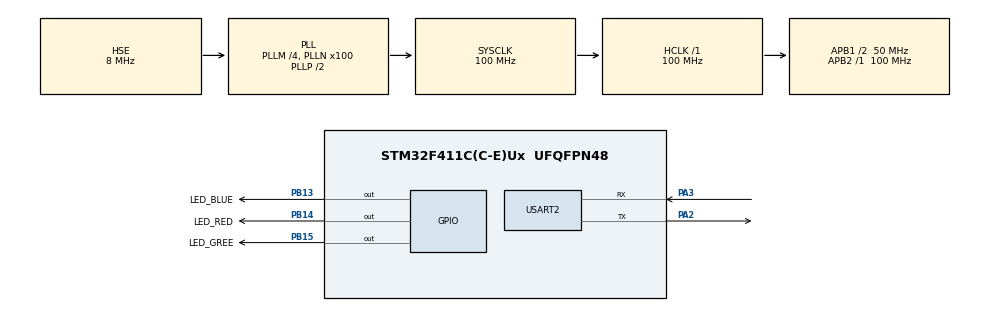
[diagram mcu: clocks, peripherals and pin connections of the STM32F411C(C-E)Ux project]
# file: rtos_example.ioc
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FREERTOS.Tasks01=defaultTask,0,128,StartDefaultTask,Default,NULL,Dynamic,NULL,NULL
FREERTOS.configUSE_NEWLIB_REENTRANT=1
Mcu.Family=STM32F4
Mcu.Name=STM32F411C(C-E)Ux
Mcu.Package=UFQFPN48
NVIC.PriorityGroup=NVIC_PRIORITYGROUP_4
PA2.Mode=Asynchronous
PA2.Signal=USART2_TX
PA3.Mode=Asynchronous
PA3.Signal=USART2_RX
PB13.GPIO_Label=LED_BLUE
PB13.Signal=GPIO_Output
PB14.GPIO_Label=LED_RED
PB14.Signal=GPIO_Output
PB15.GPIO_Label=LED_GREE
PB15.Signal=GPIO_Output
PC14-OSC32_IN.Mode=LSE-External-Oscillator
PC14-OSC32_IN.Signal=RCC_OSC32_IN
PC15-OSC32_OUT.Mode=LSE-External-Oscillator
PC15-OSC32_OUT.Signal=RCC_OSC32_OUT
PH0\ -\ OSC_IN.Mode=HSE-External-Oscillator
PH0\ -\ OSC_IN.Signal=RCC_OSC_IN
PH1\ -\ OSC_OUT.Mode=HSE-External-Oscillator
PH1\ -\ OSC_OUT.Signal=RCC_OSC_OUT
ProjectManager.HeapSize=0x200
ProjectManager.StackSize=0x400
ProjectManager.TargetToolchain=STM32CubeIDE
RCC.48MHZClocksFreq_Value=50000000
RCC.AHBFreq_Value=100000000
RCC.APB1CLKDivider=RCC_HCLK_DIV2
RCC.APB1Freq_Value=50000000
RCC.APB1TimFreq_Value=100000000
RCC.APB2Freq_Value=100000000
RCC.APB2TimFreq_Value=100000000
RCC.CortexFreq_Value=100000000
RCC.HCLKFreq_Value=100000000
RCC.HSE_VALUE=8000000
RCC.HSI_VALUE=16000000
RCC.PLLM=4
RCC.PLLN=100
RCC.PLLSourceVirtual=RCC_PLLSOURCE_HSE
RCC.SYSCLKFreq_VALUE=100000000
RCC.SYSCLKSource=RCC_SYSCLKSOURCE_PLLCLK
RCC.VCOOutputFreq_Value=200000000
USART2.VirtualMode=VM_ASYNC
VP_FREERTOS_VS_CMSIS_V1.Mode=CMSIS_V1
board=custom

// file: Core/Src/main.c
/* USER CODE BEGIN Header */
/**
 ******************************************************************************
 * @file           : main.c
 * @brief          : Main program body
 ******************************************************************************
 * @attention
 *
 * Copyright (c) 2023 STMicroelectronics.
 * All rights reserved.
 *
 * This software is licensed under terms that can be found in the LICENSE file
 * in the root directory of this software component.
 * If no LICENSE file comes with this software, it is provided AS-IS.
 *
 ******************************************************************************
 */
/* USER CODE END Header */
#include "main.h"
#include "cmsis_os.h"
#include "stm32f4xx_hal_uart.h"
#include <string.h>

/* USER CODE BEGIN PD */
osThreadId redTaskHandle;
osThreadId greenTaskHandle;
osThreadId blueTaskHandle;
/* USER CODE END PD */

UART_HandleTypeDef huart2;

osThreadId defaultTaskHandle;

void SystemClock_Config(void);
static void MX_GPIO_Init(void);
static void MX_USART2_UART_Init(void);
void StartDefaultTask(void const *argument);

/* USER CODE BEGIN PFP */
void RedTask(void const *argument);
void GreenTask(void const *argument);
void BlueTask(void const *argument);
/* USER CODE END PFP */

int main(void) {

  /* MCU Configuration--------------------------------------------------------*/

  /* Reset of all peripherals, Initializes the Flash interface and the Systick.
   */
  HAL_Init();

  /* USER CODE BEGIN Init */
  osThreadDef(redTask, RedTask, osPriorityNormal, 0, 128);
  redTaskHandle = osThreadCreate(osThread(redTask), NULL);

  osThreadDef(blueTask, BlueTask, osPriorityNormal, 0, 128);
  blueTaskHandle = osThreadCreate(osThread(blueTask), NULL);

  osThreadDef(greenTask, GreenTask, osPriorityNormal, 0, 128);
  blueTaskHandle = osThreadCreate(osThread(greenTask), NULL);
  /* USER CODE END Init */

  /* Configure the system clock */
  SystemClock_Config();

  /* Initialize all configured peripherals */
  MX_GPIO_Init();
  MX_USART2_UART_Init();

  /* Create the thread(s) */
  /* definition and creation of defaultTask */
  // osThreadDef(defaultTask, StartDefaultTask, osPriorityNormal, 0, 128);
  // defaultTaskHandle = osThreadCreate(osThread(defaultTask), NULL);

  /* Start scheduler */
  osKernelStart();
  /* We should never get here as control is now taken by the scheduler */
  /* Infinite loop */
  while (1) {

  }
}

void SystemClock_Config(void) {
  RCC_OscInitTypeDef RCC_OscInitStruct = {0};
  RCC_ClkInitTypeDef RCC_ClkInitStruct = {0};

  /** Configure the main internal regulator output voltage
   */
  __HAL_RCC_PWR_CLK_ENABLE();
  __HAL_PWR_VOLTAGESCALING_CONFIG(PWR_REGULATOR_VOLTAGE_SCALE1);

  /** Initializes the RCC Oscillators according to the specified parameters
   * in the RCC_OscInitTypeDef structure.
   */
  RCC_OscInitStruct.OscillatorType = RCC_OSCILLATORTYPE_HSE;
  RCC_OscInitStruct.HSEState = RCC_HSE_ON;
  RCC_OscInitStruct.PLL.PLLState = RCC_PLL_ON;
  RCC_OscInitStruct.PLL.PLLSource = RCC_PLLSOURCE_HSE;
  RCC_OscInitStruct.PLL.PLLM = 4;
  RCC_OscInitStruct.PLL.PLLN = 100;
  RCC_OscInitStruct.PLL.PLLP = RCC_PLLP_DIV2;
  RCC_OscInitStruct.PLL.PLLQ = 4;
  if (HAL_RCC_OscConfig(&RCC_OscInitStruct) != HAL_OK) {
    Error_Handler();
  }

  /** Initializes the CPU, AHB and APB buses clocks
   */
  RCC_ClkInitStruct.ClockType = RCC_CLOCKTYPE_HCLK | RCC_CLOCKTYPE_SYSCLK |
                                RCC_CLOCKTYPE_PCLK1 | RCC_CLOCKTYPE_PCLK2;
  RCC_ClkInitStruct.SYSCLKSource = RCC_SYSCLKSOURCE_PLLCLK;
  RCC_ClkInitStruct.AHBCLKDivider = RCC_SYSCLK_DIV1;
  RCC_ClkInitStruct.APB1CLKDivider = RCC_HCLK_DIV2;
  RCC_ClkInitStruct.APB2CLKDivider = RCC_HCLK_DIV1;

  if (HAL_RCC_ClockConfig(&RCC_ClkInitStruct, FLASH_LATENCY_3) != HAL_OK) {
    Error_Handler();
  }
}

static void MX_USART2_UART_Init(void) {

  huart2.Instance = USART2;
  huart2.Init.BaudRate = 115200;
  huart2.Init.WordLength = UART_WORDLENGTH_8B;
  huart2.Init.StopBits = UART_STOPBITS_1;
  huart2.Init.Parity = UART_PARITY_NONE;
  huart2.Init.Mode = UART_MODE_TX_RX;
  huart2.Init.HwFlowCtl = UART_HWCONTROL_NONE;
  huart2.Init.OverSampling = UART_OVERSAMPLING_16;
  if (HAL_UART_Init(&huart2) != HAL_OK) {
    Error_Handler();
  }
}

static void MX_GPIO_Init(void) {
  GPIO_InitTypeDef GPIO_InitStruct = {0};

  /* GPIO Ports Clock Enable */
  __HAL_RCC_GPIOC_CLK_ENABLE();
  __HAL_RCC_GPIOH_CLK_ENABLE();
  __HAL_RCC_GPIOA_CLK_ENABLE();
  __HAL_RCC_GPIOB_CLK_ENABLE();

  /*Configure GPIO pin Output Level */
  HAL_GPIO_WritePin(GPIOB, LED_BLUE_Pin | LED_RED_Pin | LED_GREEN_Pin,
                    GPIO_PIN_RESET);

  /*Configure GPIO pins : LED_BLUE_Pin LED_RED_Pin LED_GREE_Pin */
  GPIO_InitStruct.Pin = LED_BLUE_Pin | LED_RED_Pin | LED_GREEN_Pin;
  GPIO_InitStruct.Mode = GPIO_MODE_OUTPUT_PP;
  GPIO_InitStruct.Pull = GPIO_NOPULL;
  GPIO_InitStruct.Speed = GPIO_SPEED_FREQ_LOW;
  HAL_GPIO_Init(GPIOB, &GPIO_InitStruct);

}

/* USER CODE BEGIN 4 */

void RedTask(void const *argument) {
  while (1) {
    HAL_GPIO_WritePin(LED_RED_GPIO_Port, LED_RED_Pin, GPIO_PIN_SET);
    osDelay(1000);

    HAL_GPIO_WritePin(LED_RED_GPIO_Port, LED_RED_Pin, GPIO_PIN_RESET);
    osDelay(1000);
  }
}

void BlueTask(void const *argument) {
  while (1) {
    HAL_GPIO_WritePin(LED_BLUE_GPIO_Port, LED_BLUE_Pin, GPIO_PIN_SET);
    osDelay(2000);

    HAL_GPIO_WritePin(LED_BLUE_GPIO_Port, LED_BLUE_Pin, GPIO_PIN_RESET);
    osDelay(2000);
  }
}

void GreenTask(void const *argument) {
  while (1) {
    HAL_GPIO_WritePin(LED_GREEN_GPIO_Port, LED_GREEN_Pin, GPIO_PIN_SET);
    osDelay(3000);

    HAL_GPIO_WritePin(LED_GREEN_GPIO_Port, LED_GREEN_Pin, GPIO_PIN_RESET);
    osDelay(3000);
  }
}

/* USER CODE END 4 */

void StartDefaultTask(void const *argument) {
  for (;;) {
    osDelay(1);
  }
}

void Error_Handler(void) {
  __disable_irq();
  while (1) {
  }
}

#ifdef USE_FULL_ASSERT
/**
 * @brief  Reports the name of the source file and the source line number
 *         where the assert_param error has occurred.
 * @param  file: pointer to the source file name
 * @param  line: assert_param error line source number
 * @retval None
 */
void assert_failed(uint8_t *file, uint32_t line) {
  /* USER CODE BEGIN 6 */
  /* User can add his own implementation to report the file name and line
     number, ex: printf("Wrong parameters value: file %s on line %d\r\n", file,
     line) */
  /* USER CODE END 6 */
}
#endif /* USE_FULL_ASSERT */
